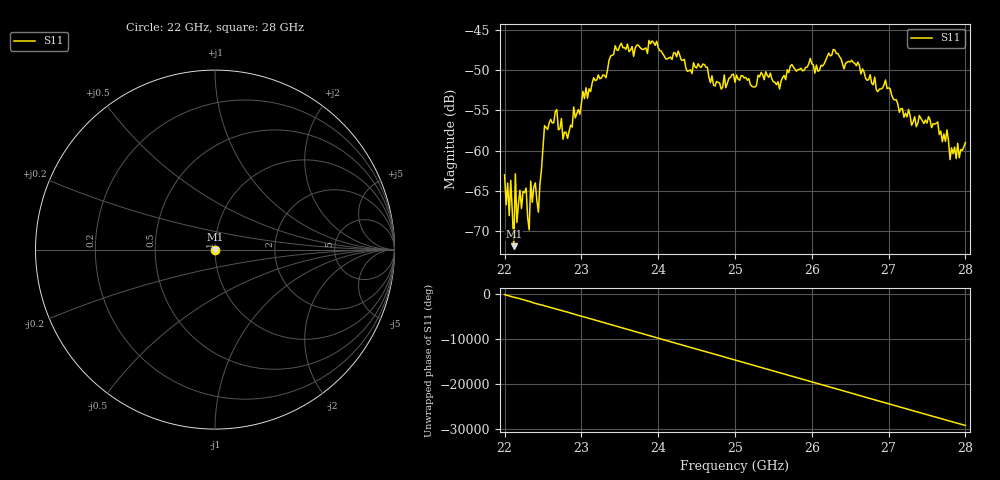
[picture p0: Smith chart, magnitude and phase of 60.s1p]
#  HZ  S  RI  R  50.00
! Rohde & Schwarz ZVA40 4Ports - Version 3.90 - 1145.1110k42 SN: 100403
! Date: 2023-10-04 07:44:08
! Measurement: S12
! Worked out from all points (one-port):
!   301 points, 22 GHz to 28 GHz, reference 50 ohm
!   lowest |S11| = -71.8 dB at 22.12 GHz (marker M1), VSWR 1.00, Z = 50 - j0.00695 ohm
!   |S11| at or under -10 dB: start of sweep to end of sweep
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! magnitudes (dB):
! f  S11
! 22 GHz  -63.0
! 22.02 GHz  -66.7
! 22.04 GHz  -64.0
! 22.06 GHz  -68.1
! 22.08 GHz  -63.7
! 22.12 GHz  -71.8
! 22.14 GHz  -62.9
! 22.16 GHz  -68.9
! 22.2 GHz  -64.9
! 22.22 GHz  -67.2
! 22.28 GHz  -64.6
! 22.32 GHz  -69.8
! 22.34 GHz  -63.8
! 22.4 GHz  -64.0
! 22.44 GHz  -67.6
! 22.52 GHz  -56.9
! 22.68 GHz  -54.9
! 22.76 GHz  -58.6
! 23.5 GHz  -47.0
! 24.26 GHz  -47.7
! 25 GHz  -51.5
! 25.58 GHz  -52.4
! 25.76 GHz  -49.6
! 26.5 GHz  -49.0
! 27.26 GHz  -54.9
! 27.76 GHz  -57.4
! 27.8 GHz  -61.1
! 28 GHz  -59.0
